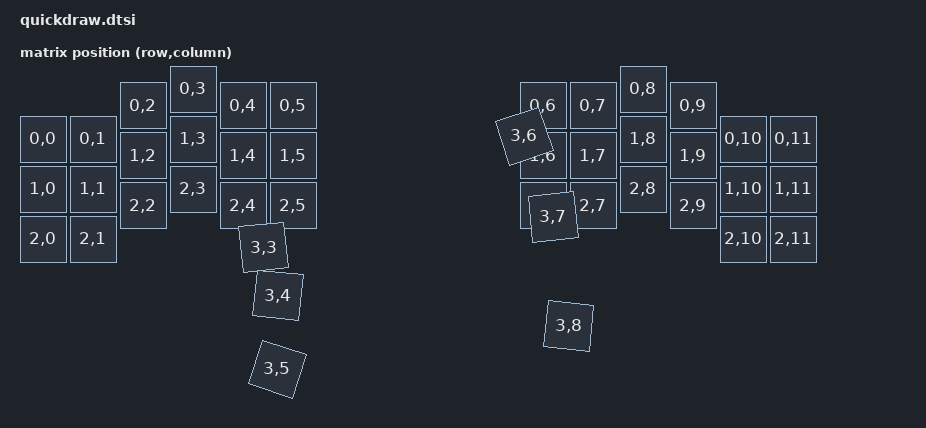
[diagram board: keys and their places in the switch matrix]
/*
 * Copyright (c) 2020 Pete Johanson
 *
 * SPDX-License-Identifier: MIT
 */

#include <dt-bindings/zmk/matrix_transform.h>
#include <physical_layouts.dtsi>

/ {
    chosen {
        zmk,kscan = &kscan0;
        zmk,physical-layout = &default_layout;
    };

    default_transform: keymap_transform_0 {
        compatible = "zmk,matrix-transform";
        columns = <12>;
        rows = <4>;
// | SW1  | SW2  | SW3  | SW4  | SW5  | SW6  |   | SW6  | SW5  | SW4  | SW3  | SW2  | SW1  |
// | SW7  | SW8  | SW9  | SW10 | SW11 | SW12 |   | SW12 | SW11 | SW10 | SW9  | SW8  | SW7  |
// | SW13 | SW14 | SW15 | SW16 | SW17 | SW18 |   | SW18 | SW17 | SW16 | SW15 | SW14 | SW13 |
//                      | SW19 | SW20 | SW21 |   | SW21 | SW20 | SW19 |
        map = <
RC(0,0) RC(0,1) RC(0,2) RC(0,3) RC(0,4) RC(0,5)  RC(0,6) RC(0,7) RC(0,8) RC(0,9) RC(0,10) RC(0,11)
RC(1,0) RC(1,1) RC(1,2) RC(1,3) RC(1,4) RC(1,5)  RC(1,6) RC(1,7) RC(1,8) RC(1,9) RC(1,10) RC(1,11)
RC(2,0) RC(2,1) RC(2,2) RC(2,3) RC(2,4) RC(2,5)  RC(2,6) RC(2,7) RC(2,8) RC(2,9) RC(2,10) RC(2,11)
                        RC(3,3) RC(3,4) RC(3,5)  RC(3,6) RC(3,7) RC(3,8)
        >;
    };

    default_layout: default_layout {
        compatible = "zmk,physical-layout";
        display-name = "QUICKDRAW";
        transform = <&default_transform>;
        kscan = <&kscan0>;

        keys  //                     w   h    x    y     rot    rx    ry
            = <&key_physical_attrs 100 100    0  100       0     0     0>
            , <&key_physical_attrs 100 100  100  100       0     0     0>
            , <&key_physical_attrs 100 100  200   33       0     0     0>
            , <&key_physical_attrs 100 100  300    0       0     0     0>
            , <&key_physical_attrs 100 100  400   33       0     0     0>
            , <&key_physical_attrs 100 100  500   33       0     0     0>
            , <&key_physical_attrs 100 100 1000   33       0     0     0>
            , <&key_physical_attrs 100 100 1100   33       0     0     0>
            , <&key_physical_attrs 100 100 1200    0       0     0     0>
            , <&key_physical_attrs 100 100 1300   33       0     0     0>
            , <&key_physical_attrs 100 100 1400  100       0     0     0>
            , <&key_physical_attrs 100 100 1500  100       0     0     0>
            , <&key_physical_attrs 100 100    0  200       0     0     0>
            , <&key_physical_attrs 100 100  100  200       0     0     0>
            , <&key_physical_attrs 100 100  200  133       0     0     0>
            , <&key_physical_attrs 100 100  300  100       0     0     0>
            , <&key_physical_attrs 100 100  400  133       0     0     0>
            , <&key_physical_attrs 100 100  500  133       0     0     0>
            , <&key_physical_attrs 100 100 1000  133       0     0     0>
            , <&key_physical_attrs 100 100 1100  133       0     0     0>
            , <&key_physical_attrs 100 100 1200  100       0     0     0>
            , <&key_physical_attrs 100 100 1300  133       0     0     0>
            , <&key_physical_attrs 100 100 1400  200       0     0     0>
            , <&key_physical_attrs 100 100 1500  200       0     0     0>
            , <&key_physical_attrs 100 100    0  300       0     0     0>
            , <&key_physical_attrs 100 100  100  300       0     0     0>
            , <&key_physical_attrs 100 100  200  233       0     0     0>
            , <&key_physical_attrs 100 100  300  200       0     0     0>
            , <&key_physical_attrs 100 100  400  233       0     0     0>
            , <&key_physical_attrs 100 100  500  233       0     0     0>
            , <&key_physical_attrs 100 100 1000  233       0     0     0>
            , <&key_physical_attrs 100 100 1100  233       0     0     0>
            , <&key_physical_attrs 100 100 1200  200       0     0     0>
            , <&key_physical_attrs 100 100 1300  233       0     0     0>
            , <&key_physical_attrs 100 100 1400  300       0     0     0>
            , <&key_physical_attrs 100 100 1500  300       0     0     0>
            , <&key_physical_attrs 100 100  400  366  (-600)     0     0>
            , <&key_physical_attrs 100 100  515  356     600     0     0>
            , <&key_physical_attrs 100 100  632  370    1800     0     0>
            , <&key_physical_attrs 100 100  868  400 (-1800)     0     0>
            , <&key_physical_attrs 100 100  983  366  (-600)     0     0>
            , <&key_physical_attrs 100 100 1100  356     600     0     0>
            ;
    };

    kscan0: kscan {
        compatible = "zmk,kscan-gpio-matrix";
        label = "KSCAN";
        diode-direction = "col2row";
    };
};
